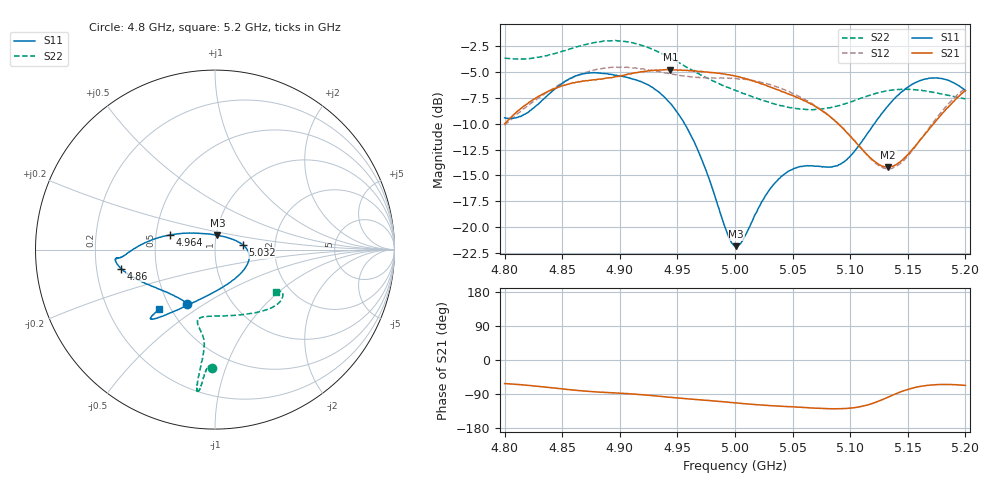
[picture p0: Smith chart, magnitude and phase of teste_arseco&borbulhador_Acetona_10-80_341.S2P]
! Network Analyzer HP8722D
! Hewlett-Packard
! Data name: Linha & Wilkinson
! Saver's name: Rodrigo Anjos
! Comments: Teste da utilização de aquisição
! continua pelo VNA HP8722D
! Time and date: 17/4/2025 17:12
!  Frequency  S11  S21  S12  S22
# HZ  S  MA R 50
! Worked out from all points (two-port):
!   401 points, 4.8 GHz to 5.2 GHz, reference 50 ohm
!   highest |S21| = -4.75 dB at 4.944 GHz (marker M1); lowest = -14.2 dB at 5.133 GHz (marker M2)
!   |S21| within 3 dB of the highest: 4.824 GHz to 5.06 GHz (236.3 MHz wide, 4.78 % of centre); 5.190587 GHz to end of sweep
!   lowest |S11| = -21.9 dB at 5.001 GHz (marker M3), VSWR 1.18, Z = 50.7 + j8.13 ohm
!   |S11| at or under -10 dB: 4.956 GHz to 5.121 GHz (164.9 MHz wide, 3.27 % of centre)
!   |S22| runs from -8.6 to -1.9 dB; largest |S21 - S12| = 0.87
!   S11 on the Smith chart (normalised r, x): 4.8 GHz: 0.62, -0.42; 4.86 GHz: 0.31, -0.09; 4.964 GHz: 0.59, +0.10; 5.032 GHz: 1.36, +0.08; 5.2 GHz: 0.43, -0.36
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4.8e9  0.3378 -117.1  0.3156 -62.3  0.3102 -176.6  0.6573 -91.3
4.819e9  0.3555 -137.3  0.3924 -66.6  0.3816 -176.2  0.6522 -93.2
4.86e9  0.5345 -168.5  0.4992 -79.2  0.531 -179.6  0.7369 -95.5
4.867e9  0.5501 -171.3  0.507 -81.5  0.5504 179.1  0.7559 -95.7
4.898e9  0.5403 -175.1  0.5352 -87.2  0.5926 173.2  0.7964 -97.0
4.934e9  0.45 179.2  0.5742 -95.8  0.5654 169.9  0.701 -97.4
4.944e9  0.3965 174.8  0.5785 -98.5  0.5491 170.0  0.6577 -96.9
4.964e9  0.2627 161.8  0.5693 -103.7  0.5323 171.9  0.5695 -96.4
4.993e9  0.09412 112.3  0.5471 -111.0  0.5259 174.2  0.4755 -98.6
5e9  0.08158 85.0  0.5383 -113.2  0.5237 174.1  0.4588 -100.1
5.001e9  0.0808 80.4  0.536 -113.1  0.5239 174.1  0.4567 -100.4
5.007e9  0.08654 56.7  0.5257 -114.9  0.5196 174.0  0.4428 -101.4
5.032e9  0.1567 9.9  0.473 -120.7  0.4854 173.0  0.3972 -103.2
5.047e9  0.1871 -4.0  0.4386 -123.2  0.4523 172.4  0.379 -99.4
5.067e9  0.1978 -25.3  0.3924 -126.6  0.3962 172.1  0.3705 -88.3
5.096e9  0.2099 -75.5  0.2907 -127.9  0.2921 174.8  0.3958 -65.8
5.121e9  0.3161 -112.0  0.208 -112.9  0.2059 -167.9  0.4413 -49.5
5.133e9  0.3867 -120.9  0.1952 -97.8  0.1915 -151.0  0.4571 -43.7
5.134e9  0.3928 -121.7  0.1954 -96.7  0.1916 -149.6  0.4584 -43.3
5.147e9  0.461 -127.5  0.2153 -80.6  0.2111 -131.1  0.464 -38.5
5.168e9  0.5243 -132.3  0.2956 -66.8  0.2993 -113.2  0.4521 -33.5
5.2e9  0.4573 -133.3  0.458 -67.0  0.47 -109.2  0.4165 -34.9
